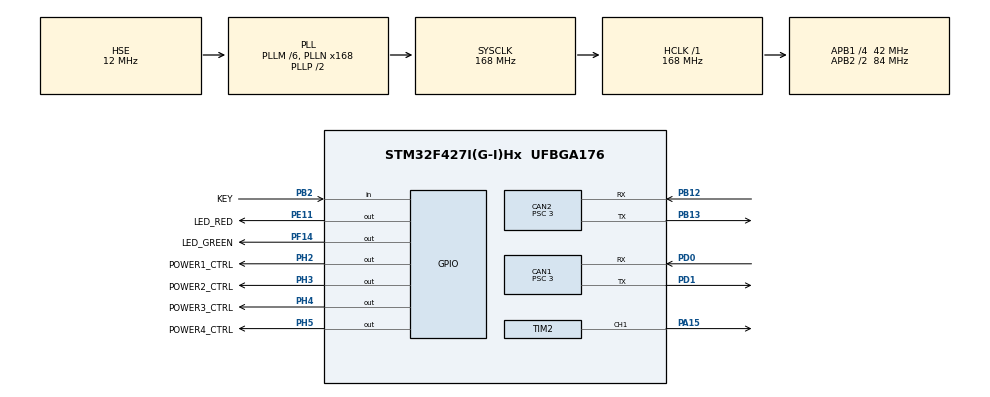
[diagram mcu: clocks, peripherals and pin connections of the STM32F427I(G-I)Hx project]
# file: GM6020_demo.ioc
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CAN1.ABOM=DISABLE
CAN1.BS1=CAN_BS1_10TQ
CAN1.BS2=CAN_BS2_3TQ
CAN1.CalculateTimeQuantum=71.42857142857143
CAN1.NART=DISABLE
CAN1.Prescaler=3
CAN1.SJW=CAN_SJW_1TQ
CAN2.ABOM=DISABLE
CAN2.BS1=CAN_BS1_10TQ
CAN2.BS2=CAN_BS2_3TQ
CAN2.CalculateTimeQuantum=71.42857142857143
CAN2.Prescaler=3
Mcu.Family=STM32F4
Mcu.Name=STM32F427I(G-I)Hx
Mcu.Package=UFBGA176
NVIC.CAN1_RX0_IRQn=true\:0\:0\:false\:false\:true\:true\:true\:true
NVIC.CAN2_RX0_IRQn=true\:0\:0\:false\:false\:true\:true\:true\:true
NVIC.PriorityGroup=NVIC_PRIORITYGROUP_4
PA13.Mode=Serial_Wire
PA13.Signal=SYS_JTMS-SWDIO
PA14.Mode=Serial_Wire
PA14.Signal=SYS_JTCK-SWCLK
PA15.Signal=S_TIM2_CH1_ETR
PB12.GPIO_PuPd=GPIO_NOPULL
PB12.Mode=Slave
PB12.Signal=CAN2_RX
PB13.GPIO_PuPd=GPIO_NOPULL
PB13.Mode=Slave
PB13.Signal=CAN2_TX
PB2/BOOT1.GPIO_Label=KEY
PB2/BOOT1.Signal=GPIO_Input
PD0.Mode=Master
PD0.Signal=CAN1_RX
PD1.Mode=Master
PD1.Signal=CAN1_TX
PE11.GPIO_Label=LED_RED
PE11.Signal=GPIO_Output
PE13.Signal=S_TIM1_CH3
PE14.Signal=S_TIM1_CH4
PF14.GPIO_Label=LED_GREEN
PF14.Signal=GPIO_Output
PH0/OSC_IN.Mode=HSE-External-Oscillator
PH0/OSC_IN.Signal=RCC_OSC_IN
PH1/OSC_OUT.Mode=HSE-External-Oscillator
PH1/OSC_OUT.Signal=RCC_OSC_OUT
PH2.GPIO_Label=POWER1_CTRL
PH2.Signal=GPIO_Output
PH3.GPIO_Label=POWER2_CTRL
PH3.Signal=GPIO_Output
PH4.GPIO_Label=POWER3_CTRL
PH4.Signal=GPIO_Output
PH5.GPIO_Label=POWER4_CTRL
PH5.Signal=GPIO_Output
ProjectManager.HeapSize=0x200
ProjectManager.StackSize=0x400
ProjectManager.TargetToolchain=MDK-ARM V5
RCC.48MHZClocksFreq_Value=84000000
RCC.AHBFreq_Value=168000000
RCC.APB1CLKDivider=RCC_HCLK_DIV4
RCC.APB1Freq_Value=42000000
RCC.APB1TimFreq_Value=84000000
RCC.APB2CLKDivider=RCC_HCLK_DIV2
RCC.APB2Freq_Value=84000000
RCC.APB2TimFreq_Value=168000000
RCC.CortexFreq_Value=168000000
RCC.HCLKFreq_Value=168000000
RCC.HSE_VALUE=12000000
RCC.HSI_VALUE=16000000
RCC.LSE_VALUE=32768
RCC.PLLM=6
RCC.PLLN=168
RCC.PLLSourceVirtual=RCC_PLLSOURCE_HSE
RCC.SYSCLKFreq_VALUE=168000000
RCC.SYSCLKSource=RCC_SYSCLKSOURCE_PLLCLK
RCC.VCOOutputFreq_Value=336000000
SH.S_TIM1_CH3.0=TIM1_CH3
SH.S_TIM1_CH4.0=TIM1_CH4
SH.S_TIM2_CH1_ETR.0=TIM2_CH1,PWM Generation1 CH1
TIM2.Channel-PWM\ Generation1\ CH1=TIM_CHANNEL_1
TIM2.Period=1999
TIM2.Prescaler=839
TIM2.Pulse-PWM\ Generation1\ CH1=150
VP_TIM2_VS_ClockSourceINT.Mode=Internal
board=PWM

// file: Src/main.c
/* USER CODE BEGIN Header */
/**
 ******************************************************************************
 * @file           : main.c
 * @brief          : Main program body
 ******************************************************************************
 ** This notice applies to any and all portions of this file
 * that are not between comment pairs USER CODE BEGIN and
 * USER CODE END. Other portions of this file, whether
 * inserted by the user or by software development tools
 * are owned by their respective copyright owners.
 *
 * COPYRIGHT(c) 2018 STMicroelectronics
 *
 * Redistribution and use in source and binary forms, with or without modification,
 * are permitted provided that the following conditions are met:
 *   1. Redistributions of source code must retain the above copyright notice,
 *      this list of conditions and the following disclaimer.
 *   2. Redistributions in binary form must reproduce the above copyright notice,
 *      this list of conditions and the following disclaimer in the documentation
 *      and/or other materials provided with the distribution.
 *   3. Neither the name of STMicroelectronics nor the names of its contributors
 *      may be used to endorse or promote products derived from this software
 *      without specific prior written permission.
 *
 * THIS SOFTWARE IS PROVIDED BY THE COPYRIGHT HOLDERS AND CONTRIBUTORS "AS IS"
 * AND ANY EXPRESS OR IMPLIED WARRANTIES, INCLUDING, BUT NOT LIMITED TO, THE
 * IMPLIED WARRANTIES OF MERCHANTABILITY AND FITNESS FOR A PARTICULAR PURPOSE ARE
 * DISCLAIMED. IN NO EVENT SHALL THE COPYRIGHT HOLDER OR CONTRIBUTORS BE LIABLE
 * FOR ANY DIRECT, INDIRECT, INCIDENTAL, SPECIAL, EXEMPLARY, OR CONSEQUENTIAL
 * DAMAGES (INCLUDING, BUT NOT LIMITED TO, PROCUREMENT OF SUBSTITUTE GOODS OR
 * SERVICES; LOSS OF USE, DATA, OR PROFITS; OR BUSINESS INTERRUPTION) HOWEVER
 * CAUSED AND ON ANY THEORY OF LIABILITY, WHETHER IN CONTRACT, STRICT LIABILITY,
 * OR TORT (INCLUDING NEGLIGENCE OR OTHERWISE) ARISING IN ANY WAY OUT OF THE USE
 * OF THIS SOFTWARE, EVEN IF ADVISED OF THE POSSIBILITY OF SUCH DAMAGE.
 *
 ******************************************************************************
 */
/* USER CODE END Header */

#include "main.h"
#include "can.h"
#include "tim.h"
#include "gpio.h"
#include "math.h"

/* USER CODE BEGIN Includes */
#include "bsp_can.h"
#include "pid.h"
/* USER CODE END Includes */

/* USER CODE BEGIN PM */
#define CHASSIS_CONTROL_TIME_MS 2
#define CHASSIS_STEER_MOTOR_CONTROL_TIME_MS (CHASSIS_CONTROL_TIME_MS)

#define M6020_MOTOR_ANGLE_PID_KP 80.0f
#define M6020_MOTOR_ANGLE_PID_KI 1.5f
#define M6020_MOTOR_ANGLE_PID_KD 2.5f
// chassis 6020 max motor control voltage
#define MAX_MOTOR_CAN_VOLTAGE 20000.0f
#define M6020_MOTOR_ANGLE_PID_MAX_OUT MAX_MOTOR_CAN_VOLTAGE
#define M6020_MOTOR_ANGLE_PID_MAX_IOUT 10000.0f

#define ROTATE_6020_OFFSET ECD_RANGE_180
#define REVERSE_STEER_ANGLE 1
// #define MG6012_MOTOR_SPEED_PID_KP 80.0f
// #define MG6012_MOTOR_SPEED_PID_KI 1.5f
// #define MG6012_MOTOR_SPEED_PID_KD 2.5f
// // chassis 6020 max motor control voltage
// #define MAX_MOTOR_CAN_VOLTAGE 20000.0f
// #define MG6012_MOTOR_SPEED_PID_MAX_OUT MAX_MOTOR_CAN_VOLTAGE
// #define MG6012_MOTOR_SPEED_PID_MAX_IOUT 10000.0f

// #define MG6012_MOTOR_ACCEL_PID_KP 80.0f
// #define MG6012_MOTOR_ACCEL_PID_KI 1.5f
// #define MG6012_MOTOR_ACCEL_PID_KD 2.5f
// // chassis 6020 max motor control voltage
// #define MAX_MOTOR_CAN_VOLTAGE 20000.0f
// #define MG6012_MOTOR_ACCEL_PID_MAX_OUT MAX_MOTOR_CAN_VOLTAGE
// #define MG6012_MOTOR_ACCEL_PID_MAX_IOUT 10000.0f

// Calibrate with the 45 degree position
// #define M6020_MOTOR_0_ANGLE_ECD_OF_LIMITER 4778U
// #define M6020_MOTOR_1_ANGLE_ECD_OF_LIMITER 4592U
// #define M6020_MOTOR_2_ANGLE_ECD_OF_LIMITER 3225U
// #define M6020_MOTOR_3_ANGLE_ECD_OF_LIMITER 3051U

// #define M6020_MOTOR_0_ANGLE_ECD_OFFSET ((M6020_MOTOR_0_ANGLE_ECD_OF_LIMITER + ECD_RANGE_45) % ECD_RANGE)
// #define M6020_MOTOR_1_ANGLE_ECD_OFFSET ((M6020_MOTOR_1_ANGLE_ECD_OF_LIMITER - ECD_RANGE_45) % ECD_RANGE)
// #define M6020_MOTOR_2_ANGLE_ECD_OFFSET ((M6020_MOTOR_2_ANGLE_ECD_OF_LIMITER + ECD_RANGE_45) % ECD_RANGE)
// #define M6020_MOTOR_3_ANGLE_ECD_OFFSET ((M6020_MOTOR_3_ANGLE_ECD_OF_LIMITER - ECD_RANGE_45) % ECD_RANGE)

#define M6020_MOTOR_0_ANGLE_ECD_OFFSET ((1679U + ROTATE_6020_OFFSET * REVERSE_STEER_ANGLE) % ECD_RANGE)
#define M6020_MOTOR_1_ANGLE_ECD_OFFSET ((5111U + ROTATE_6020_OFFSET * REVERSE_STEER_ANGLE) % ECD_RANGE)
#define M6020_MOTOR_2_ANGLE_ECD_OFFSET ((4447U + ROTATE_6020_OFFSET * REVERSE_STEER_ANGLE) % ECD_RANGE)
#define M6020_MOTOR_3_ANGLE_ECD_OFFSET ((7769U + ROTATE_6020_OFFSET * REVERSE_STEER_ANGLE) % ECD_RANGE)

#define CHASSIS_LOAD_SERVO_HALF_PERIOD_MS 2000.0f
#define CHASSIS_LOAD_SERVO_HALF_PERIOD_TICKS (CHASSIS_LOAD_SERVO_HALF_PERIOD_MS / CHASSIS_CONTROL_TIME_MS)
// Timer 2 resolution is set to be micro second
// Servo motor: (Miuzei 20kg) https://www.amazon.com/Miuzei-Torque-Digital-Waterproof-Control/dp/B07HNTKSZT
#define CHASSIS_LOAD_SERVO_MIN_DUTY_CYCLE 833.0f // 90 deg
#define CHASSIS_LOAD_SERVO_MAX_DUTY_CYCLE 1500.0f

#define CHASSIS_TEST_MODE 1
/* USER CODE END PM */

/* USER CODE BEGIN PV */
pid_struct_t motor_pid[CHASSIS_ID_LAST];
pid_struct_t hip_speed_pid[HIP_MOTOR_COUNT];
pid_struct_t hip_accel_pid[HIP_MOTOR_COUNT];
/* USER CODE END PV */

void SystemClock_Config(void);
/* USER CODE BEGIN PFP */
float abs_angle_pid_calc(pid_struct_t *pid, float target_ecd, float feedback_ecd);
void chassis_load_servo_manager(void);
float loop_ecd_constrain(float Input);
/* USER CODE END PFP */

/* USER CODE BEGIN 0 */
#if CHASSIS_TEST_MODE
float diff_ecd_float;
static void J_scope_pid_test(void)
{
  uint8_t motor_id = 0;
  diff_ecd_float = loop_ecd_constrain((float)motor_info[motor_id].feedback_ecd - (float)motor_info[motor_id].offset_ecd);
}
#endif
/* USER CODE END 0 */

int main(void)
{

  /* MCU Configuration--------------------------------------------------------*/

  /* Reset of all peripherals, Initializes the Flash interface and the Systick. */
  HAL_Init();

  /* Configure the system clock */
  SystemClock_Config();

  /* Initialize all configured peripherals */
  MX_GPIO_Init();
  MX_CAN1_Init();
  MX_CAN2_Init();
  MX_TIM2_Init();
  /* USER CODE BEGIN 2 */
  HAL_TIM_PWM_Start(&htim2,TIM_CHANNEL_1);

  HAL_GPIO_WritePin(GPIOH, POWER1_CTRL_Pin | POWER2_CTRL_Pin | POWER3_CTRL_Pin | POWER4_CTRL_Pin, GPIO_PIN_SET); // switch on 24v power
  can_user_init();                                                                                               // config can filter, start can
  const static uint16_t steer_motor_offset_ecd[4] = {M6020_MOTOR_0_ANGLE_ECD_OFFSET, M6020_MOTOR_1_ANGLE_ECD_OFFSET, M6020_MOTOR_2_ANGLE_ECD_OFFSET, M6020_MOTOR_3_ANGLE_ECD_OFFSET};
  for (uint8_t i = 0; i < STEER_MOTOR_COUNT; i++)
  {
    pid_init(&motor_pid[i], M6020_MOTOR_ANGLE_PID_KP, M6020_MOTOR_ANGLE_PID_KI, M6020_MOTOR_ANGLE_PID_KD, M6020_MOTOR_ANGLE_PID_MAX_IOUT, M6020_MOTOR_ANGLE_PID_MAX_OUT);
    motor_info[i].offset_ecd = steer_motor_offset_ecd[i];
  }

  // for (uint8_t i = 0; i < HIP_MOTOR_COUNT + 1; i++)
  // {
  //   pid_init(&hip_speed_pid[i], M6020_MOTOR_ANGLE_PID_KP, M6020_MOTOR_ANGLE_PID_KI, M6020_MOTOR_ANGLE_PID_KD, M6020_MOTOR_ANGLE_PID_MAX_IOUT, M6020_MOTOR_ANGLE_PID_MAX_OUT);
  //   pid_init(&hip_accel_pid[i], M6020_MOTOR_ANGLE_PID_KP, M6020_MOTOR_ANGLE_PID_KI, M6020_MOTOR_ANGLE_PID_KD, M6020_MOTOR_ANGLE_PID_MAX_IOUT, M6020_MOTOR_ANGLE_PID_MAX_OUT);
  //   motor_info[i].offset_ecd = steer_motor_offset_ecd[i];
  // }
  /* USER CODE END 2 */

  /* Infinite loop */
  /* USER CODE BEGIN WHILE */
  while (1)
  {
    for (uint8_t i = 0; i < STEER_MOTOR_COUNT; i++)
    {
      motor_info[i].set_voltage = abs_angle_pid_calc(&motor_pid[i], (float)motor_info[i].target_ecd, (float)motor_info[i].feedback_ecd - (float)motor_info[i].offset_ecd);
    }
    /* send motor control message through can bus*/
    CAN_cmd_steer_motors(0, motor_info[CHASSIS_ID_STEER_1 + 0].set_voltage, motor_info[CHASSIS_ID_STEER_1 + 1].set_voltage, motor_info[CHASSIS_ID_STEER_1 + 2].set_voltage, motor_info[CHASSIS_ID_STEER_1 + 3].set_voltage);
    HAL_Delay(2);
    CAN_cmd_hip_motors(motor_info[CHASSIS_ID_HIP_1 + 0].set_torque, motor_info[CHASSIS_ID_HIP_1 + 1].set_torque, motor_info[CHASSIS_ID_HIP_1 + 2].set_torque, motor_info[CHASSIS_ID_HIP_1 + 3].set_torque);
    // chassis_load_servo_manager();
    HAL_Delay(1);

#if CHASSIS_TEST_MODE
    J_scope_pid_test();
#endif
    /* USER CODE END WHILE */
  }
}

void SystemClock_Config(void)
{
  RCC_OscInitTypeDef RCC_OscInitStruct = {0};
  RCC_ClkInitTypeDef RCC_ClkInitStruct = {0};

  /**Configure the main internal regulator output voltage
   */
  __HAL_RCC_PWR_CLK_ENABLE();
  __HAL_PWR_VOLTAGESCALING_CONFIG(PWR_REGULATOR_VOLTAGE_SCALE1);
  /**Initializes the CPU, AHB and APB busses clocks
   */
  RCC_OscInitStruct.OscillatorType = RCC_OSCILLATORTYPE_HSE;
  RCC_OscInitStruct.HSEState = RCC_HSE_ON;
  RCC_OscInitStruct.PLL.PLLState = RCC_PLL_ON;
  RCC_OscInitStruct.PLL.PLLSource = RCC_PLLSOURCE_HSE;
  RCC_OscInitStruct.PLL.PLLM = 6;
  RCC_OscInitStruct.PLL.PLLN = 168;
  RCC_OscInitStruct.PLL.PLLP = RCC_PLLP_DIV2;
  RCC_OscInitStruct.PLL.PLLQ = 4;
  if (HAL_RCC_OscConfig(&RCC_OscInitStruct) != HAL_OK)
  {
    Error_Handler();
  }
  /**Initializes the CPU, AHB and APB busses clocks
   */
  RCC_ClkInitStruct.ClockType = RCC_CLOCKTYPE_HCLK | RCC_CLOCKTYPE_SYSCLK | RCC_CLOCKTYPE_PCLK1 | RCC_CLOCKTYPE_PCLK2;
  RCC_ClkInitStruct.SYSCLKSource = RCC_SYSCLKSOURCE_PLLCLK;
  RCC_ClkInitStruct.AHBCLKDivider = RCC_SYSCLK_DIV1;
  RCC_ClkInitStruct.APB1CLKDivider = RCC_HCLK_DIV4;
  RCC_ClkInitStruct.APB2CLKDivider = RCC_HCLK_DIV2;

  if (HAL_RCC_ClockConfig(&RCC_ClkInitStruct, FLASH_LATENCY_5) != HAL_OK)
  {
    Error_Handler();
  }
}

/* USER CODE BEGIN 4 */
/**
 * @brief Constrain ecd to range [-ECD_RANGE_180,ECD_RANGE_180]
 */
float loop_ecd_constrain(float Input)
{
  if (Input > ECD_RANGE_180)
  {
    while (Input > ECD_RANGE_180)
    {
      Input -= ECD_RANGE;
    }
  }
  else if (Input < -ECD_RANGE_180)
  {
    while (Input < -ECD_RANGE_180)
    {
      Input += ECD_RANGE;
    }
  }
  return Input;
}

/**
  * @brief  pid calculation
  * @param  pid struct
    @param  target_ecd encoder range [-ECD_RANGE_180, ECD_RANGE_180]
    @param  feedback_ecd encoder range [-ECD_RANGE_180, ECD_RANGE_180]
  * @retval calculation result
  */
float abs_angle_pid_calc(pid_struct_t *pid, float target_ecd, float feedback_ecd)
{
  pid->err[1] = pid->err[0];
  pid->err[0] = loop_ecd_constrain(target_ecd - feedback_ecd);

  pid->p_out = pid->kp * pid->err[0];
  pid->i_out += pid->ki * pid->err[0];
  pid->d_out = pid->kd * (pid->err[0] - pid->err[1]);
  LIMIT_MIN_MAX(pid->i_out, -pid->i_max, pid->i_max);

  pid->output = pid->p_out + pid->i_out + pid->d_out;
  LIMIT_MIN_MAX(pid->output, -pid->out_max, pid->out_max);
  return pid->output;
}

/**
 * @brief Turn on servo motor to help trigger motor
 */
void chassis_load_servo_manager(void)
{
  if (fLoadServoOn)
  {
    static uint16_t uiPeriodicCounter = 0;
    if (uiPeriodicCounter >= 2*CHASSIS_LOAD_SERVO_HALF_PERIOD_TICKS)
    {
      uiPeriodicCounter = 0;
    }
    else
    {
      uiPeriodicCounter++;
    }
    uint16_t duty_cycle = CHASSIS_LOAD_SERVO_MAX_DUTY_CYCLE - fabs((CHASSIS_LOAD_SERVO_MAX_DUTY_CYCLE - CHASSIS_LOAD_SERVO_MIN_DUTY_CYCLE) / CHASSIS_LOAD_SERVO_HALF_PERIOD_TICKS * (uiPeriodicCounter - CHASSIS_LOAD_SERVO_HALF_PERIOD_TICKS));
    __HAL_TIM_SET_COMPARE(&htim2, TIM_CHANNEL_1, duty_cycle);
  }
}
/* USER CODE END 4 */

void Error_Handler(void)
{
}

/************************ (C) COPYRIGHT STMicroelectronics *****END OF FILE****/
